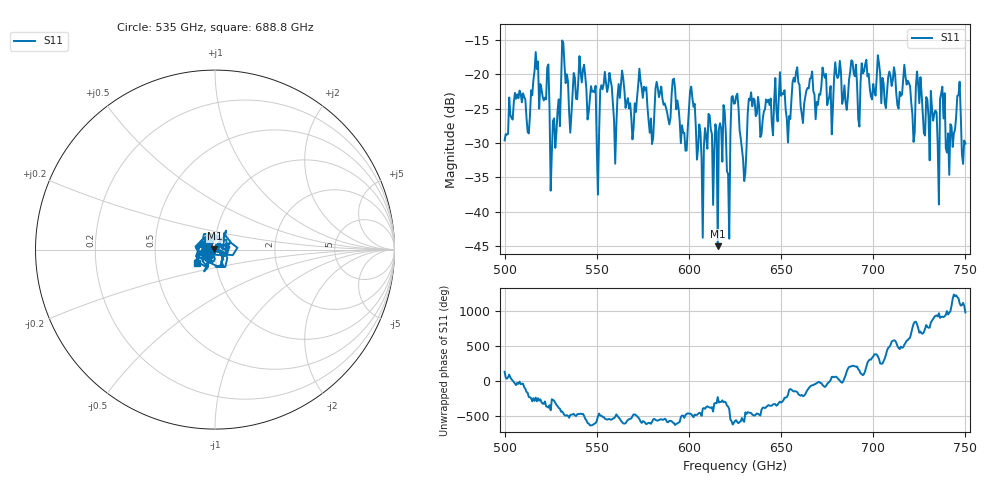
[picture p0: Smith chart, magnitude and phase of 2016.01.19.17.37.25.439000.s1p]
!Created with skrf (http://scikit-rf.org).
# GHz S RI R 50.0
!freq ReS11 ImS11
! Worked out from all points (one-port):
!   401 points, 500 GHz to 750 GHz, reference 50 ohm
!   lowest |S11| = -45.0 dB at 615.6 GHz (marker M1), VSWR 1.01, Z = 49.7 + j0.451 ohm
!   |S11| at or under -10 dB: start of sweep to end of sweep
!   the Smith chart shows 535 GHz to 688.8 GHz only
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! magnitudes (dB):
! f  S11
! 500 GHz  -29.6
! 513.1 GHz  -28.6
! 516.9 GHz  -16.8
! 526.2 GHz  -26.8
! 531.2 GHz  -15.1
! 535.6 GHz  -28.5
! 541.9 GHz  -21.2
! 550 GHz  -30.4
! 553.1 GHz  -22.2
! 560 GHz  -33.0
! 562.5 GHz  -23.4
! 579.4 GHz  -26.4
! 583.1 GHz  -22.0
! 593.8 GHz  -23.8
! 615.6 GHz  -45.0
! 618.8 GHz  -24.5
! 621.2 GHz  -34.5
! 625 GHz  -24.2
! 630 GHz  -35.5
! 633.8 GHz  -22.6
! 656.2 GHz  -21.1
! 687.5 GHz  -19.6
! 718.8 GHz  -20.9
! 734.4 GHz  -25.6
! 737.5 GHz  -21.8
! 740.6 GHz  -28.6
! 746.2 GHz  -23.1
! 750 GHz  -30.1
